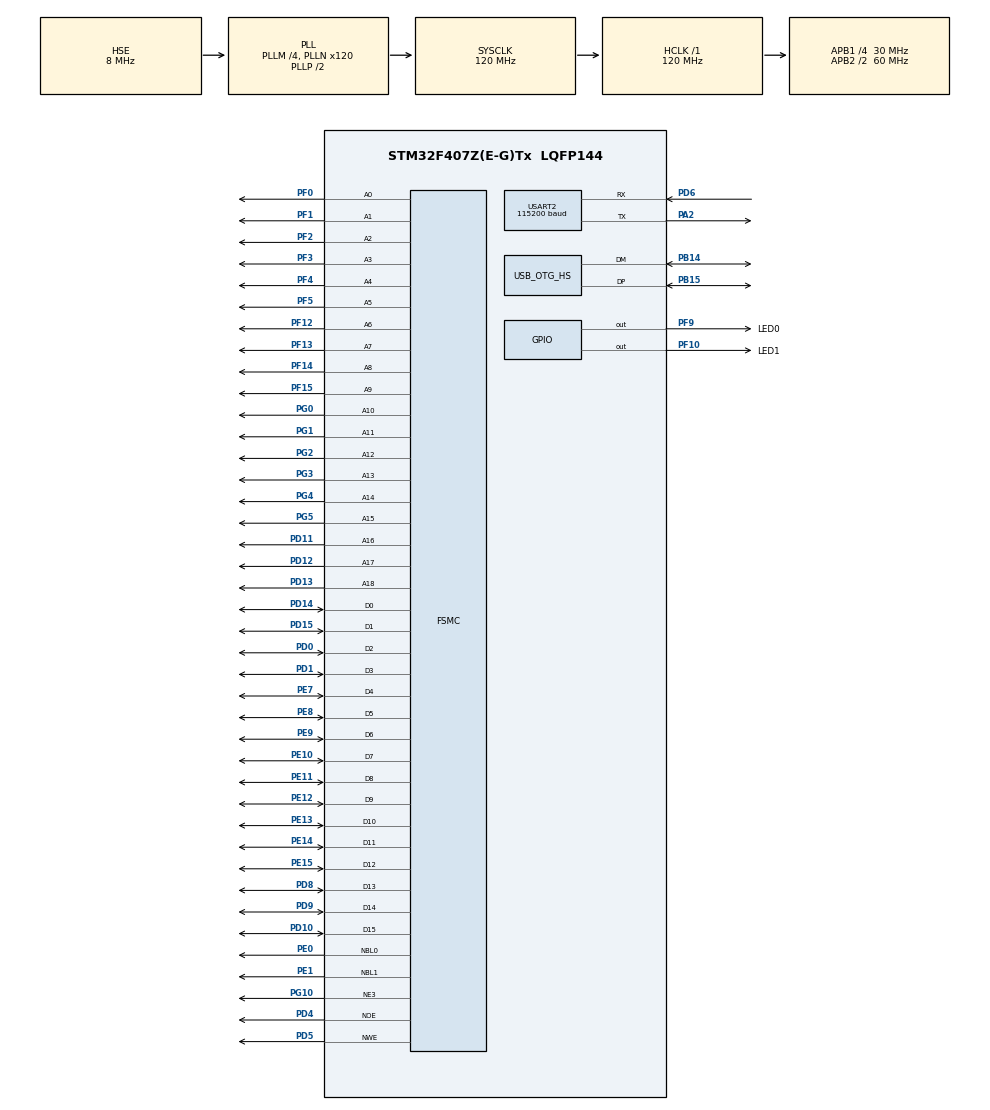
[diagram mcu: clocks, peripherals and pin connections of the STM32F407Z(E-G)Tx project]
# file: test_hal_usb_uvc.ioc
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Dma.Request0=USART2_RX
Dma.USART2_RX.0.Direction=DMA_PERIPH_TO_MEMORY
Dma.USART2_RX.0.FIFOMode=DMA_FIFOMODE_DISABLE
Dma.USART2_RX.0.Instance=DMA1_Stream5
Dma.USART2_RX.0.MemDataAlignment=DMA_MDATAALIGN_BYTE
Dma.USART2_RX.0.MemInc=DMA_MINC_ENABLE
Dma.USART2_RX.0.Mode=DMA_CIRCULAR
Dma.USART2_RX.0.PeriphDataAlignment=DMA_PDATAALIGN_BYTE
Dma.USART2_RX.0.PeriphInc=DMA_PINC_DISABLE
Dma.USART2_RX.0.Priority=DMA_PRIORITY_MEDIUM
FSMC.AddressSetupTime2=5
FSMC.BusTurnAroundDuration2=1
FSMC.DataSetupTime2=7
FSMC.WriteOperation2=FSMC_WRITE_OPERATION_ENABLE
Mcu.Family=STM32F4
Mcu.Name=STM32F407Z(E-G)Tx
Mcu.Package=LQFP144
NVIC.DMA1_Stream5_IRQn=true\:6\:0\:true\:false\:true\:false\:true\:true
NVIC.OTG_HS_IRQn=true\:0\:0\:false\:false\:true\:true\:true\:true
NVIC.PriorityGroup=NVIC_PRIORITYGROUP_4
NVIC.TIM5_IRQn=true\:15\:0\:false\:false\:true\:false\:true\:true
NVIC.TimeBase=TIM5_IRQn
NVIC.TimeBaseIP=TIM5
NVIC.USART2_IRQn=true\:6\:0\:true\:false\:true\:true\:true\:true
PA13.Mode=Serial_Wire
PA13.Signal=SYS_JTMS-SWDIO
PA14.Mode=Serial_Wire
PA14.Signal=SYS_JTCK-SWCLK
PA2.GPIO_PuPd=GPIO_PULLUP
PA2.GPIO_Speed=GPIO_SPEED_FREQ_VERY_HIGH
PA2.Mode=Asynchronous
PA2.Signal=USART2_TX
PB14.Mode=Host_FS
PB14.Signal=USB_OTG_HS_DM
PB15.Mode=Host_FS
PB15.Signal=USB_OTG_HS_DP
PD0.GPIO_PuPd=GPIO_PULLUP
PD0.Signal=FSMC_D2_DA2
PD1.GPIO_PuPd=GPIO_PULLUP
PD1.Signal=FSMC_D3_DA3
PD10.GPIO_PuPd=GPIO_PULLUP
PD10.Signal=FSMC_D15_DA15
PD11.Signal=FSMC_A16_CLE
PD12.Signal=FSMC_A17_ALE
PD13.Signal=FSMC_A18
PD14.GPIO_PuPd=GPIO_PULLUP
PD14.Signal=FSMC_D0_DA0
PD15.GPIO_PuPd=GPIO_PULLUP
PD15.Signal=FSMC_D1_DA1
PD4.GPIO_PuPd=GPIO_PULLUP
PD4.Signal=FSMC_NOE
PD5.GPIO_PuPd=GPIO_PULLUP
PD5.Signal=FSMC_NWE
PD6.GPIO_PuPd=GPIO_NOPULL
PD6.GPIO_Speed=GPIO_SPEED_FREQ_MEDIUM
PD6.Mode=Asynchronous
PD6.Signal=USART2_RX
PD8.GPIO_PuPd=GPIO_PULLUP
PD8.Signal=FSMC_D13_DA13
PD9.GPIO_PuPd=GPIO_PULLUP
PD9.Signal=FSMC_D14_DA14
PE0.Signal=FSMC_NBL0
PE1.Signal=FSMC_NBL1
PE10.GPIO_PuPd=GPIO_PULLUP
PE10.Signal=FSMC_D7_DA7
PE11.GPIO_PuPd=GPIO_PULLUP
PE11.Signal=FSMC_D8_DA8
PE12.GPIO_PuPd=GPIO_PULLUP
PE12.Signal=FSMC_D9_DA9
PE13.GPIO_PuPd=GPIO_PULLUP
PE13.Signal=FSMC_D10_DA10
PE14.GPIO_PuPd=GPIO_PULLUP
PE14.Signal=FSMC_D11_DA11
PE15.GPIO_PuPd=GPIO_PULLUP
PE15.Signal=FSMC_D12_DA12
PE7.GPIO_PuPd=GPIO_PULLUP
PE7.Signal=FSMC_D4_DA4
PE8.GPIO_PuPd=GPIO_PULLUP
PE8.Signal=FSMC_D5_DA5
PE9.GPIO_PuPd=GPIO_PULLUP
PE9.Signal=FSMC_D6_DA6
PF0.Signal=FSMC_A0
PF1.Signal=FSMC_A1
PF10.GPIO_Label=LED1
PF10.PinState=GPIO_PIN_SET
PF10.Signal=GPIO_Output
PF12.GPIO_PuPd=GPIO_PULLUP
PF12.Signal=FSMC_A6
PF13.Signal=FSMC_A7
PF14.Signal=FSMC_A8
PF15.Signal=FSMC_A9
PF2.Signal=FSMC_A2
PF3.Signal=FSMC_A3
PF4.Signal=FSMC_A4
PF5.Signal=FSMC_A5
PF9.GPIO_Label=LED0
PF9.PinState=GPIO_PIN_SET
PF9.Signal=GPIO_Output
PG0.Signal=FSMC_A10
PG1.Signal=FSMC_A11
PG10.Mode=NorPsramChipSelect3_2
PG10.Signal=FSMC_NE3
PG2.Signal=FSMC_A12
PG3.Signal=FSMC_A13
PG4.Signal=FSMC_A14
PG5.Signal=FSMC_A15
PH0-OSC_IN.Mode=HSE-External-Oscillator
PH0-OSC_IN.Signal=RCC_OSC_IN
PH1-OSC_OUT.Mode=HSE-External-Oscillator
PH1-OSC_OUT.Signal=RCC_OSC_OUT
ProjectManager.HeapSize=0x2000
ProjectManager.StackSize=0x4000
ProjectManager.TargetToolchain=STM32CubeIDE
RCC.48MHZClocksFreq_Value=48000000
RCC.AHBFreq_Value=120000000
RCC.APB1CLKDivider=RCC_HCLK_DIV4
RCC.APB1Freq_Value=30000000
RCC.APB1TimFreq_Value=60000000
RCC.APB2CLKDivider=RCC_HCLK_DIV2
RCC.APB2Freq_Value=60000000
RCC.APB2TimFreq_Value=120000000
RCC.CortexFreq_Value=120000000
RCC.HCLKFreq_Value=120000000
RCC.HSE_VALUE=8000000
RCC.HSI_VALUE=16000000
RCC.LSE_VALUE=32768
RCC.PLLM=4
RCC.PLLN=120
RCC.PLLQ=5
RCC.RCC_MCO1Source=RCC_MCO1SOURCE_PLLCLK
RCC.RCC_MCODiv1=RCC_MCODIV_5
RCC.RCC_RTC_Clock_Source=RCC_RTCCLKSOURCE_LSI
RCC.RCC_RTC_Clock_SourceVirtual=RCC_RTCCLKSOURCE_LSI
RCC.SYSCLKFreq_VALUE=120000000
RCC.SYSCLKSource=RCC_SYSCLKSOURCE_PLLCLK
RCC.VCOOutputFreq_Value=240000000
SH.FSMC_A0.0=FSMC_A0,19b-a2
SH.FSMC_A1.0=FSMC_A1,19b-a2
SH.FSMC_A10.0=FSMC_A10,19b-a2
SH.FSMC_A11.0=FSMC_A11,19b-a2
SH.FSMC_A12.0=FSMC_A12,19b-a2
SH.FSMC_A13.0=FSMC_A13,19b-a2
SH.FSMC_A14.0=FSMC_A14,19b-a2
SH.FSMC_A15.0=FSMC_A15,19b-a2
SH.FSMC_A16_CLE.0=FSMC_A16,19b-a2
SH.FSMC_A17_ALE.0=FSMC_A17,19b-a2
SH.FSMC_A18.0=FSMC_A18,19b-a2
SH.FSMC_A2.0=FSMC_A2,19b-a2
SH.FSMC_A3.0=FSMC_A3,19b-a2
SH.FSMC_A4.0=FSMC_A4,19b-a2
SH.FSMC_A5.0=FSMC_A5,19b-a2
SH.FSMC_A6.0=FSMC_A6,19b-a2
SH.FSMC_A7.0=FSMC_A7,19b-a2
SH.FSMC_A8.0=FSMC_A8,19b-a2
SH.FSMC_A9.0=FSMC_A9,19b-a2
SH.FSMC_D0_DA0.0=FSMC_D0,16b-d2
SH.FSMC_D10_DA10.0=FSMC_D10,16b-d2
SH.FSMC_D11_DA11.0=FSMC_D11,16b-d2
SH.FSMC_D12_DA12.0=FSMC_D12,16b-d2
SH.FSMC_D13_DA13.0=FSMC_D13,16b-d2
SH.FSMC_D14_DA14.0=FSMC_D14,16b-d2
SH.FSMC_D15_DA15.0=FSMC_D15,16b-d2
SH.FSMC_D1_DA1.0=FSMC_D1,16b-d2
SH.FSMC_D2_DA2.0=FSMC_D2,16b-d2
SH.FSMC_D3_DA3.0=FSMC_D3,16b-d2
SH.FSMC_D4_DA4.0=FSMC_D4,16b-d2
SH.FSMC_D5_DA5.0=FSMC_D5,16b-d2
SH.FSMC_D6_DA6.0=FSMC_D6,16b-d2
SH.FSMC_D7_DA7.0=FSMC_D7,16b-d2
SH.FSMC_D8_DA8.0=FSMC_D8,16b-d2
SH.FSMC_D9_DA9.0=FSMC_D9,16b-d2
SH.FSMC_NBL0.0=FSMC_NBL0,2ByteEnable2
SH.FSMC_NBL1.0=FSMC_NBL1,2ByteEnable2
SH.FSMC_NOE.0=FSMC_NOE,Sram2
SH.FSMC_NWE.0=FSMC_NWE,Sram2
USART2.BaudRate=115200
USART2.VirtualMode=VM_ASYNC
USB_HOST.USBH_DEBUG_LEVEL-ALL_Classes_HS=2
USB_HOST.USBH_HandleTypeDef-ALL_Classes_HS=hUsbHostHS
USB_HOST.VirtualModeHS=All_Classes
USB_OTG_HS.VirtualMode-Host_FS=Host_FS
VP_SYS_VS_tim5.Mode=TIM5
VP_USB_HOST_VS_USB_HOST_ALL_CLASS_HS.Mode=ALL_Classes_HS
board=custom

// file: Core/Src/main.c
/* USER CODE BEGIN Header */
/**
 ******************************************************************************
 * @file           : main.c
 * @brief          : Main program body
 ******************************************************************************
 * @attention
 *
 * Copyright (c) 2023 STMicroelectronics.
 * All rights reserved.
 *
 * This software is licensed under terms that can be found in the LICENSE file
 * in the root directory of this software component.
 * If no LICENSE file comes with this software, it is provided AS-IS.
 *
 ******************************************************************************
 */
/* USER CODE END Header */
#include "main.h"

#include "dma.h"
#include "fsmc.h"
#include "gpio.h"
#include "usart.h"
#include "usb_host.h"

/* USER CODE BEGIN Includes */
#include <stdint.h>
#include <stdio.h>
#include <stdlib.h>
#include <string.h>
#include <strings.h>

#include "cmsis_gcc.h"
#include "lwmem.h"
#include "uart_comm_helper.h"
#include "usb_host.h"
#include "usbh_video.h"
#include "usbh_video_stream_parsing.h"
/* USER CODE END Includes */

/* USER CODE BEGIN PV */
extern DMA_HandleTypeDef hdma_usart2_rx;
extern uint8_t uvc_parsing_new_frame_ready;
extern uint8_t *uvc_ready_framebuffer_ptr;
extern uint32_t uvc_ready_frame_length;
extern uint32_t uvc_frame_cnt;

static lwmem_region_t regions[] = {
  /* Set start address and size of each region */
    {(void *) 0X68096000, 0x00060000},
    {NULL,                0         }
};
UartMessageHandler debugMessageHandler;
volatile uint8_t uvc_framebuffer0[UVC_MAX_FRAME_SIZE] __attribute__((section(".sram")));
uint32_t uvc_frame_length=0;
/* USER CODE END PV */

void SystemClock_Config(void);
void MX_USB_HOST_Process(void);

/* USER CODE BEGIN PFP */
extern void USB_HOST_fast_class_call(void);
/* USER CODE END PFP */

/* USER CODE BEGIN 0 */
#ifdef __GNUC__
#define PUTCHAR_PROTOTYPE int __io_putchar(int ch)
#else
#define PUTCHAR_PROTOTYPE int fputc(int ch, FILE *f)
#endif

PUTCHAR_PROTOTYPE {
  HAL_UART_Transmit(&huart2, (uint8_t *) &ch, 1, HAL_MAX_DELAY);
  return ch;
}

void debugPacketHandler(uint8_t *packet, uint16_t packetLen, void *arg) {
  //  printf("%.*s\r\n", packetLen, packet);
  printf("debug:\t");
  for (uint16_t i = 0; i < packetLen; ++i) {
    printf("%02x ", packet[i]);
  }
  printf("\r\n");
  if (packetLen > 3) {
    if (strstr((char *) packet, "AT+camera") != NULL) {
      return;
    }
  }
}
void HAL_UARTEx_RxEventCallback(UART_HandleTypeDef *huart, uint16_t Size) {
  if (huart->Instance == debugMessageHandler.llhandler.uart->Instance) {
    UART_IDLE_Callback(&debugMessageHandler.llhandler, huart);
  }
}

void Vector_Init_Setting(uint32_t addr)  // The interrupt vector transfer
{
  SCB->VTOR = addr;
}
/* USER CODE END 0 */

int main(void) {
  /* USER CODE BEGIN 1 */
  Vector_Init_Setting(FLASH_BASE);
  /* USER CODE END 1 */

  /* MCU Configuration--------------------------------------------------------*/

  /* Reset of all peripherals, Initializes the Flash interface and the Systick. */
  HAL_Init();

  /* Configure the system clock */
  SystemClock_Config();

  /* Initialize all configured peripherals */
  MX_GPIO_Init();
  MX_DMA_Init();
  MX_USART2_UART_Init();
  MX_FSMC_Init();
  MX_USB_HOST_Init();
  /* USER CODE BEGIN 2 */
  UartPacketHandlerInit(&debugMessageHandler, &huart2, debugPacketHandler);
  if (!lwmem_assignmem(regions)) {
    printf(
        "Cannot initialize LwMEM. Make sure your regions are not "
        "overlapping each other and are in ascending memory order\r\n");
  } else {
    printf("LwMEM initialized and ready to use\r\n");
  }
  printf("Test UVC Host\n");

  // Only one framebuffer is used
  video_stream_init_buffers((uint8_t *) uvc_framebuffer0, (uint8_t *) uvc_framebuffer0);

  /* USER CODE END 2 */

  /* Infinite loop */
  while (1) {
    MX_USB_HOST_Process();

    /* USER CODE BEGIN 3 */
    // USB_HOST_fast_class_call();

    if (uvc_parsing_new_frame_ready) {
      uvc_parsing_new_frame_ready = 0;

      if (uvc_frame_cnt == 50) {
        // IAR's debugger functions
        // int f1 = __open("D:/dump.raw", _LLIO_CREAT | _LLIO_TRUNC | _LLIO_WRONLY | _LLIO_BINARY);
        // __write(f1, (uint8_t *) (uvc_ready_framebuffer_ptr), uvc_ready_frame_length);
        // __close(f1);
        // printf("uvc frame: len is %u,%02X %02X %02X %02X\r\n",uvc_ready_frame_length, *(uvc_ready_framebuffer_ptr), *(uvc_ready_framebuffer_ptr + 1),
        //        *(uvc_ready_framebuffer_ptr + uvc_ready_frame_length - 2), *(uvc_ready_framebuffer_ptr + uvc_ready_frame_length - 1));
        // for (uint32_t i = 0; i < uvc_ready_frame_length; i++) {
        //   if (i % 1024 == 0) {
        //     printf("\r\n");
        //   }
        //   printf("%02X ", *(uvc_ready_framebuffer_ptr + i));
        // }
      }
      video_stream_ready_update();
    }
  }
  /* USER CODE END 3 */
}

void SystemClock_Config(void) {
  RCC_OscInitTypeDef RCC_OscInitStruct = {0};
  RCC_ClkInitTypeDef RCC_ClkInitStruct = {0};

  /** Configure the main internal regulator output voltage
   */
  __HAL_RCC_PWR_CLK_ENABLE();
  __HAL_PWR_VOLTAGESCALING_CONFIG(PWR_REGULATOR_VOLTAGE_SCALE1);

  /** Initializes the RCC Oscillators according to the specified parameters
   * in the RCC_OscInitTypeDef structure.
   */
  RCC_OscInitStruct.OscillatorType = RCC_OSCILLATORTYPE_HSE;
  RCC_OscInitStruct.HSEState = RCC_HSE_ON;
  RCC_OscInitStruct.PLL.PLLState = RCC_PLL_ON;
  RCC_OscInitStruct.PLL.PLLSource = RCC_PLLSOURCE_HSE;
  RCC_OscInitStruct.PLL.PLLM = 4;
  RCC_OscInitStruct.PLL.PLLN = 120;
  RCC_OscInitStruct.PLL.PLLP = RCC_PLLP_DIV2;
  RCC_OscInitStruct.PLL.PLLQ = 5;
  if (HAL_RCC_OscConfig(&RCC_OscInitStruct) != HAL_OK) {
    Error_Handler();
  }

  /** Initializes the CPU, AHB and APB buses clocks
   */
  RCC_ClkInitStruct.ClockType = RCC_CLOCKTYPE_HCLK | RCC_CLOCKTYPE_SYSCLK | RCC_CLOCKTYPE_PCLK1 | RCC_CLOCKTYPE_PCLK2;
  RCC_ClkInitStruct.SYSCLKSource = RCC_SYSCLKSOURCE_PLLCLK;
  RCC_ClkInitStruct.AHBCLKDivider = RCC_SYSCLK_DIV1;
  RCC_ClkInitStruct.APB1CLKDivider = RCC_HCLK_DIV4;
  RCC_ClkInitStruct.APB2CLKDivider = RCC_HCLK_DIV2;

  if (HAL_RCC_ClockConfig(&RCC_ClkInitStruct, FLASH_LATENCY_3) != HAL_OK) {
    Error_Handler();
  }
}

void HAL_TIM_PeriodElapsedCallback(TIM_HandleTypeDef *htim) {
  if (htim->Instance == TIM5) {
    HAL_IncTick();
  }
}

void Error_Handler(void) {
  /* USER CODE BEGIN Error_Handler_Debug */
  /* User can add his own implementation to report the HAL error return state */
  __disable_irq();
  printf("%s\r\n", __func__);
  while (1) {
  }
  /* USER CODE END Error_Handler_Debug */
}

#ifdef USE_FULL_ASSERT
/**
 * @brief  Reports the name of the source file and the source line number
 *         where the assert_param error has occurred.
 * @param  file: pointer to the source file name
 * @param  line: assert_param error line source number
 * @retval None
 */
void assert_failed(uint8_t *file, uint32_t line) {
  /* USER CODE BEGIN 6 */
  /* User can add his own implementation to report the file name and line
     number, ex: printf("Wrong parameters value: file %s on line %d\r\n", file,
     line) */
  /* USER CODE END 6 */
}
#endif /* USE_FULL_ASSERT */
